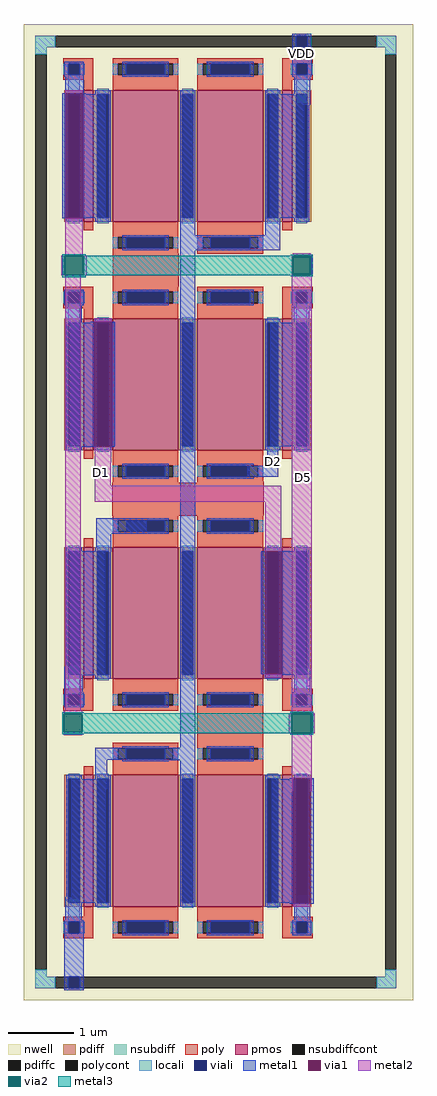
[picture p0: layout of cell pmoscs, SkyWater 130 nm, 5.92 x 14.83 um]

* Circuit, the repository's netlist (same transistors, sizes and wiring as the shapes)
** sch_path: /home/fazya09/opamp/mag/pmoscs.sch
.subckt pmoscs VDD D5 D2 D1
*.PININFO VDD:B D5:B D2:B D1:B
XM5 D5 D2 VDD VDD sky130_fd_pr__pfet_01v8 L=1 W=2 nf=1 m=2
XM2 D2 D2 VDD VDD sky130_fd_pr__pfet_01v8 L=1 W=2 nf=1 m=2
XM1 D1 D2 VDD VDD sky130_fd_pr__pfet_01v8 L=1 W=2 nf=1 m=2
XM4 VDD VDD VDD VDD sky130_fd_pr__pfet_01v8 L=0.15 W=2 nf=1 m=2
XM3 VDD VDD VDD VDD sky130_fd_pr__pfet_01v8 L=1 W=2 nf=1 m=2
XM8 D1 D1 D1 VDD sky130_fd_pr__pfet_01v8 L=0.15 W=2 nf=1 m=2
XM6 D2 D2 D2 VDD sky130_fd_pr__pfet_01v8 L=0.15 W=2 nf=1 m=2
XM7 D5 D5 D5 VDD sky130_fd_pr__pfet_01v8 L=0.15 W=2 nf=1 m=2
.ends
.end

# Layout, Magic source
magic
tech sky130A
magscale 1 2
<< nwell >>
rect -176 -1526 1008 1439
<< nsubdiff >>
rect -140 1369 -80 1403
rect 896 1369 956 1403
rect -140 1347 -106 1369
rect 922 1347 956 1369
rect -140 -1456 -106 -1434
rect 922 -1456 956 -1434
rect -140 -1490 -80 -1456
rect 896 -1490 956 -1456
<< nsubdiffcont >>
rect -80 1369 896 1403
rect -140 -1434 -106 1347
rect 922 -1434 956 1347
rect -80 -1490 896 -1456
<< poly >>
rect -56 1319 36 1335
rect -56 1285 -40 1319
rect -6 1285 36 1319
rect -56 1269 36 1285
rect 6 1264 36 1269
rect 610 1319 702 1335
rect 610 1285 652 1319
rect 686 1285 702 1319
rect 610 1269 702 1285
rect 610 1260 640 1269
rect 94 641 295 741
rect -56 625 36 641
rect -56 591 -40 625
rect -6 591 36 625
rect -56 575 36 591
rect 6 570 36 575
rect 610 625 702 641
rect 610 591 652 625
rect 686 591 702 625
rect 610 575 702 591
rect 610 570 640 575
rect 94 45 294 47
rect 352 45 553 48
rect 93 -53 553 45
rect 93 -55 551 -53
rect 6 -581 36 -575
rect -56 -597 36 -581
rect -56 -631 -40 -597
rect -6 -631 36 -597
rect -56 -647 36 -631
rect 610 -581 640 -576
rect 610 -597 702 -581
rect 610 -631 652 -597
rect 686 -631 702 -597
rect 352 -745 552 -646
rect 610 -647 702 -631
rect 6 -1273 36 -1267
rect -56 -1289 36 -1273
rect -56 -1323 -40 -1289
rect -6 -1323 36 -1289
rect -56 -1339 36 -1323
rect 610 -1273 640 -1267
rect 610 -1289 702 -1273
rect 610 -1323 652 -1289
rect 686 -1323 702 -1289
rect 610 -1339 702 -1323
<< polycont >>
rect -40 1285 -6 1319
rect 652 1285 686 1319
rect -40 591 -6 625
rect 652 591 686 625
rect -40 -631 -6 -597
rect 652 -631 686 -597
rect -40 -1323 -6 -1289
rect 652 -1323 686 -1289
<< locali >>
rect -140 1369 -80 1403
rect 896 1369 956 1403
rect -140 1347 -106 1369
rect 922 1347 956 1369
rect -56 1285 -40 1319
rect -6 1285 10 1319
rect 636 1285 652 1319
rect 686 1285 702 1319
rect -40 1221 -6 1285
rect 652 1201 686 1285
rect -56 591 -40 625
rect -6 591 10 625
rect 636 591 652 625
rect 686 591 702 625
rect -40 512 -5 591
rect 652 508 686 591
rect -40 -597 -6 -510
rect 652 -597 686 -518
rect -56 -631 -40 -597
rect -6 -631 10 -597
rect 636 -631 652 -597
rect 686 -631 702 -597
rect -40 -1289 -6 -1221
rect 652 -1289 687 -1209
rect -56 -1323 -40 -1289
rect -6 -1323 10 -1289
rect 636 -1323 652 -1289
rect 686 -1323 702 -1289
rect -140 -1456 -106 -1434
rect 922 -1456 956 -1434
rect -140 -1490 -80 -1456
rect 896 -1490 956 -1456
<< viali >>
rect 652 1369 686 1403
rect -40 1285 -6 1319
rect 652 1285 686 1319
rect -40 591 -6 625
rect 652 591 686 625
rect -40 -631 -6 -597
rect 652 -631 686 -597
rect -40 -1323 -6 -1289
rect 652 -1323 686 -1289
rect -40 -1490 -6 -1456
<< metal1 >>
rect 640 1403 698 1409
rect 640 1369 652 1403
rect 686 1369 698 1403
rect 640 1359 698 1369
rect -52 1319 6 1325
rect -52 1285 -40 1319
rect -6 1285 6 1319
rect -52 1279 6 1285
rect 640 1319 699 1359
rect 640 1285 652 1319
rect 686 1285 699 1319
rect 640 1283 699 1285
rect 640 1279 698 1283
rect -50 1228 6 1279
rect -59 849 -49 1228
rect 3 1226 13 1228
rect 3 850 73 1226
rect 3 849 13 850
rect 300 797 346 1238
rect 646 1226 695 1279
rect 571 1194 695 1226
rect 571 850 677 1194
rect 558 797 604 838
rect 300 751 383 797
rect 523 751 604 797
rect -52 625 6 631
rect -52 591 -40 625
rect -6 591 6 625
rect -52 585 6 591
rect -49 534 0 585
rect 28 531 38 535
rect -34 155 38 531
rect 91 155 101 535
rect 44 -109 198 -63
rect 44 -163 90 -109
rect -34 -164 90 -163
rect -34 -514 72 -164
rect -52 -539 72 -514
rect -52 -591 4 -539
rect -52 -597 6 -591
rect -52 -631 -40 -597
rect -6 -631 6 -597
rect -52 -637 6 -631
rect 300 -759 346 751
rect 640 625 698 631
rect 640 591 652 625
rect 686 591 698 625
rect 640 585 698 591
rect 644 570 695 585
rect 644 532 692 570
rect 573 506 692 532
rect 573 156 679 506
rect 564 97 598 156
rect 504 63 598 97
rect 546 -537 556 -162
rect 608 -518 679 -162
rect 608 -537 695 -518
rect 573 -538 695 -537
rect 646 -591 695 -538
rect 640 -597 698 -591
rect 640 -631 652 -597
rect 686 -631 698 -597
rect 640 -637 698 -631
rect 42 -796 130 -760
rect 42 -855 78 -796
rect 252 -797 346 -759
rect -32 -886 78 -855
rect -32 -1214 74 -886
rect -49 -1231 74 -1214
rect -49 -1283 0 -1231
rect 300 -1242 346 -797
rect 633 -855 643 -853
rect 578 -1231 643 -855
rect 633 -1233 643 -1231
rect 695 -1233 705 -853
rect 646 -1283 695 -1233
rect -52 -1289 6 -1283
rect -52 -1323 -40 -1289
rect -6 -1323 6 -1289
rect -52 -1456 6 -1323
rect 640 -1289 698 -1283
rect 640 -1323 652 -1289
rect 686 -1323 698 -1289
rect 640 -1329 698 -1323
rect -52 -1490 -40 -1456
rect -6 -1490 6 -1456
rect -52 -1496 6 -1490
<< via1 >>
rect -49 849 3 1228
rect 38 155 91 535
rect 556 -537 608 -162
rect 643 -1233 695 -853
<< metal2 >>
rect -49 1229 3 1238
rect -50 1228 3 1229
rect -50 850 -49 1228
rect -49 735 3 849
rect 641 735 697 742
rect -62 675 -53 735
rect 7 675 16 735
rect 639 733 699 735
rect 639 677 641 733
rect 697 677 699 733
rect -50 -648 -2 675
rect 38 535 91 545
rect 38 145 91 155
rect 40 106 90 145
rect 40 37 89 106
rect 40 -12 607 37
rect 558 -152 607 -12
rect 556 -162 608 -152
rect 556 -547 608 -537
rect -54 -657 2 -648
rect 639 -655 699 677
rect -54 -722 2 -713
rect 630 -715 639 -655
rect 699 -715 708 -655
rect 639 -853 699 -715
rect 639 -892 643 -853
rect 695 -892 699 -853
rect 643 -1243 695 -1233
<< via2 >>
rect -53 675 7 735
rect 641 677 697 733
rect -54 -713 2 -657
rect 639 -715 699 -655
<< metal3 >>
rect -58 735 12 740
rect 636 735 702 738
rect -58 675 -53 735
rect 7 733 702 735
rect 7 677 641 733
rect 697 677 702 733
rect 7 675 702 677
rect -58 670 12 675
rect 636 672 702 675
rect -59 -655 7 -652
rect 634 -655 704 -650
rect -59 -657 639 -655
rect -59 -713 -54 -657
rect 2 -713 639 -657
rect -59 -715 639 -713
rect 699 -715 704 -655
rect -59 -718 7 -715
rect 634 -720 704 -715
use sky130_fd_pr__pfet_01v8_2ZH9AN  sky130_fd_pr__pfet_01v8_2ZH9AN_0
transform 1 0 625 0 1 -1042
box -109 -262 109 262
use sky130_fd_pr__pfet_01v8_2ZH9AN  sky130_fd_pr__pfet_01v8_2ZH9AN_1
transform 1 0 21 0 1 -1042
box -109 -262 109 262
use sky130_fd_pr__pfet_01v8_2ZH9AN  sky130_fd_pr__pfet_01v8_2ZH9AN_2
transform 1 0 625 0 1 344
box -109 -262 109 262
use sky130_fd_pr__pfet_01v8_2ZH9AN  sky130_fd_pr__pfet_01v8_2ZH9AN_3
transform 1 0 21 0 1 -350
box -109 -262 109 262
use sky130_fd_pr__pfet_01v8_2ZH9AN  sky130_fd_pr__pfet_01v8_2ZH9AN_4
transform 1 0 625 0 1 -350
box -109 -262 109 262
use sky130_fd_pr__pfet_01v8_2ZH9AN  sky130_fd_pr__pfet_01v8_2ZH9AN_5
transform 1 0 21 0 1 344
box -109 -262 109 262
use sky130_fd_pr__pfet_01v8_2ZH9AN  sky130_fd_pr__pfet_01v8_2ZH9AN_6
transform 1 0 625 0 1 1038
box -109 -262 109 262
use sky130_fd_pr__pfet_01v8_2ZH9AN  sky130_fd_pr__pfet_01v8_2ZH9AN_7
transform 1 0 21 0 1 1038
box -109 -262 109 262
use sky130_fd_pr__pfet_01v8_SDE6B7  sky130_fd_pr__pfet_01v8_SDE6B7_0
transform 1 0 323 0 1 1038
box -323 -300 323 300
use sky130_fd_pr__pfet_01v8_SDE6B7  sky130_fd_pr__pfet_01v8_SDE6B7_1
transform 1 0 323 0 1 344
box -323 -300 323 300
use sky130_fd_pr__pfet_01v8_SDE6B7  sky130_fd_pr__pfet_01v8_SDE6B7_2
transform 1 0 323 0 1 -350
box -323 -300 323 300
use sky130_fd_pr__pfet_01v8_SDE6B7  sky130_fd_pr__pfet_01v8_SDE6B7_3
transform 1 0 323 0 1 -1042
box -323 -300 323 300
<< labels >>
flabel metal1 667 1348 667 1348 0 FreeSans 160 0 0 0 VDD
port 0 nsew
flabel metal2 62 77 62 77 0 FreeSans 160 0 0 0 D1
port 1 nsew
flabel metal1 582 108 585 109 0 FreeSans 160 0 0 0 D2
port 2 nsew
flabel metal2 673 61 673 61 0 FreeSans 160 0 0 0 D5
port 3 nsew
<< end >>

# cell sky130_fd_pr__pfet_01v8_2ZH9AN: kit device sky130_fd_pr__pfet_01v8, w 2 l 0.15 m 1 nf 1 diffcov 100 polycov 100 guard 0 glc 1 grc 1 gtc 1 gbc 1 tbcov 100 rlcov 100 topc 0 botc 0 poverlap 0 doverlap 1 lmin 0.15 wmin 0.42 compatible {sky130_fd_pr__pfet_01v8 sky130_fd_pr__pfet_01v8_lvt sky130_fd_pr__pfet_01v8_hvt sky130_fd_pr__pfet_g5v0d10v5} full_metal 1 viasrc 100 viadrn 100 viagate 100 viagb 0 viagr 0 viagl 0 viagt 0

# cell sky130_fd_pr__pfet_01v8_SDE6B7: kit device sky130_fd_pr__pfet_01v8, w 2 l 1 m 1 nf 2 diffcov 100 polycov 100 guard 0 glc 1 grc 1 gtc 1 gbc 1 tbcov 100 rlcov 100 topc 1 botc 1 poverlap 0 doverlap 1 lmin 0.15 wmin 0.42 compatible {sky130_fd_pr__pfet_01v8 sky130_fd_pr__pfet_01v8_lvt sky130_fd_pr__pfet_01v8_hvt sky130_fd_pr__pfet_g5v0d10v5} full_metal 1 viasrc 100 viadrn 100 viagate 70 viagb 0 viagr 0 viagl 0 viagt 0
